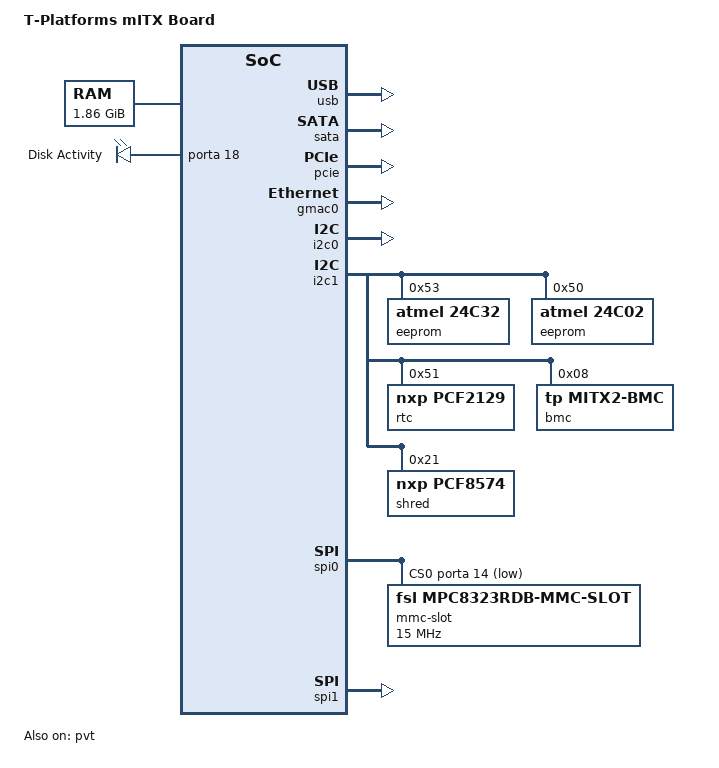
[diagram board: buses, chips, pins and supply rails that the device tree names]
/*
 * T-Platforms mITX board device tree.
 */

#include <dt-bindings/interrupt-controller/mips-gic.h>
#include <dt-bindings/gpio/gpio.h>

/dts-v1/;

#include "baikal_t1_soc.dtsi"

/ {
	model = "T-Platforms mITX Board";
	compatible = "baikal,mips", "baikal,baikal-t1-soc";
	#address-cells = <2>;
	#size-cells = <2>;
	interrupt-parent = <&gic>;

	chosen {
		bootargs = "root=/dev/ram rw console=ttyS0,115200n8 earlyprintk=uart8250,mmio32,0x1F04A000,115200 nohtw";
		linux,initrd-start = <0 0x02000000>;
		linux,initrd-end   = <0 0x03000000>;
	};

	memory {
		device_type = "memory";
		reg = <0 0x00000000 0 0x07000000>,
		      <0 0x20000000 0 0x70000000>;
	};

	leds {
		compatible = "gpio-leds";
		hdd {
			label = "Disk Activity";
			gpios = <&porta 18 GPIO_ACTIVE_HIGH>;
			linux,default-trigger = "heartbeat";
		};
	};

};

&usb {
	status = "ok";
};

&sata {
	status = "ok";
};

&pcie {
	status = "ok";
};

&gmac0 {
	status = "ok";
};

&gpio {
	status = "ok";
};

&gpio3 {
	status = "ok";
};

&i2c0 {
	status = "ok";
};

&i2c1 {
	status = "ok";

	eeprom@53 {
		compatible = "atmel,24c32";
		pagesize = <32>;
		reg = <0x53>;
	};

	eeprom@50 {
		compatible = "atmel,24c02";
		pagesize = <16>;
		reg = <0x50>;
	};

	rtc@51 {
		compatible = "nxp,pcf2129", "nxp,pcf2127";
		reg = <0x51>;
	};

	bmc@8 {
		compatible = "tp,mitx2-bmc", "t-platforms,mitx2-bmc";
		reg = <0x08>;
	};

	shred: gpio@21 {
		compatible = "nxp,pcf8574";
		reg = <0x21>;
		gpio-controller;
		#gpio-cells = <2>;
		lines-initial-states = <0x0>;
	};
};

&spi0 {
	num-cs = <2>;
	cs-gpios = <&porta 14 GPIO_ACTIVE_LOW>, <0>;
	status = "ok";

	mmc-slot@0 {
		compatible = "fsl,mpc8323rdb-mmc-slot", "mmc-spi-slot";
		reg = <0>;
//		gpios = <&porta 15 GPIO_ACTIVE_LOW>, <0>;
		voltage-ranges = <2000 3600>;
		spi-max-frequency = <15000000>;
	};
};

&spi1 {
	num-cs = <1>;
	cs-gpios = <0>;
	status = "ok";
};

&pvt {
	status = "ok";
};
